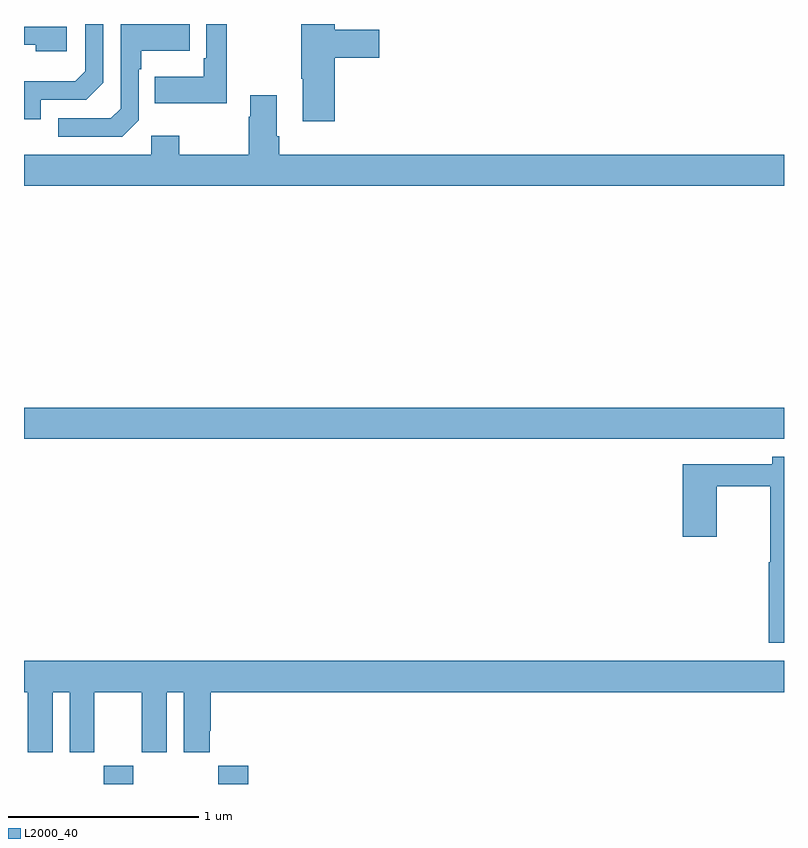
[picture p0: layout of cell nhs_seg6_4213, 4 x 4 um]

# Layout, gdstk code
import gdstk
lib = gdstk.Library(unit=1e-6, precision=1e-09)
def R(c, l, rs):  # rectangles x0, y0, x1, y1
    for r in rs: c.add(gdstk.rectangle(r[:2], r[2:], *l))
def P(c, l, *ps):  # polygons
    for p in ps: c.add(gdstk.Polygon(p, *l))
L2000_40 = (2000, 40)

nhs_seg6_4213 = lib.new_cell('nhs_seg6_4213')
R(nhs_seg6_4213, L2000_40, [(359.419,965.5,359.574,965.596), (360.023,965.5,360.179,965.596), (359,967.316,363,967.48)])
P(nhs_seg6_4213, L2000_40, [(360.635,969.323),(360.871,969.323),(360.871,969.47),(360.635,969.47),(360.635,969.5),(360.46,969.5),(360.46,969.211),(360.467,969.211),(360.467,968.988),(360.635,968.988)],
  [(360.067,969.499),(360.055,969.499),(360.055,969.5),(359.958,969.5),(359.958,969.319),(359.946,969.319),(359.946,969.223),(359.689,969.223),(359.689,969.083),(360.067,969.083)],
  [(359.604,968.994),(359.604,969.263),(359.617,969.263),(359.617,969.359),(359.873,969.359),(359.873,969.5),(359.508,969.5),(359.508,969.054),(359.457,969.003),(359.181,969.003),(359.181,968.907),(359.517,968.907)],
  [(359.088,969.102),(359.328,969.102),(359.418,969.192),(359.418,969.5),(359.322,969.5),(359.322,969.252),(359.269,969.199),(359,969.199),(359,969),(359.088,969)],
  [(359.224,969.486),(359,969.486),(359,969.39),(359.063,969.39),(359.063,969.356),(359.224,969.356)],
  [(363,968.812),(360.344,968.812),(360.344,968.908),(360.331,968.908),(360.331,969.124),(360.191,969.124),(360.191,969.011),(360.184,969.011),(360.184,968.812),(359.817,968.812),(359.817,968.911),(359.67,968.911),(359.67,968.812),(359,968.812),(359,968.648),(363,968.648)],
  [(363,967.222),(362.939,967.222),(362.939,967.183),(362.468,967.183),(362.468,966.801),(362.646,966.801),(362.646,967.066),(362.928,967.066),(362.928,966.668),(362.92,966.668),(362.92,966.243),(363,966.243)],
  [(359.152,965.984),(359.24,965.984),(359.24,965.667),(359.371,965.667),(359.371,965.984),(359.621,965.984),(359.621,965.667),(359.752,965.667),(359.752,965.984),(359.84,965.984),(359.84,965.667),(359.977,965.667),(359.977,965.779),(359.984,965.779),(359.984,965.984),(363,965.984),(363,966.148),(359,966.148),(359,965.984),(359.021,965.984),(359.021,965.667),(359.152,965.667)])

lib.write_gds('nhs_seg6_4213.gds')
